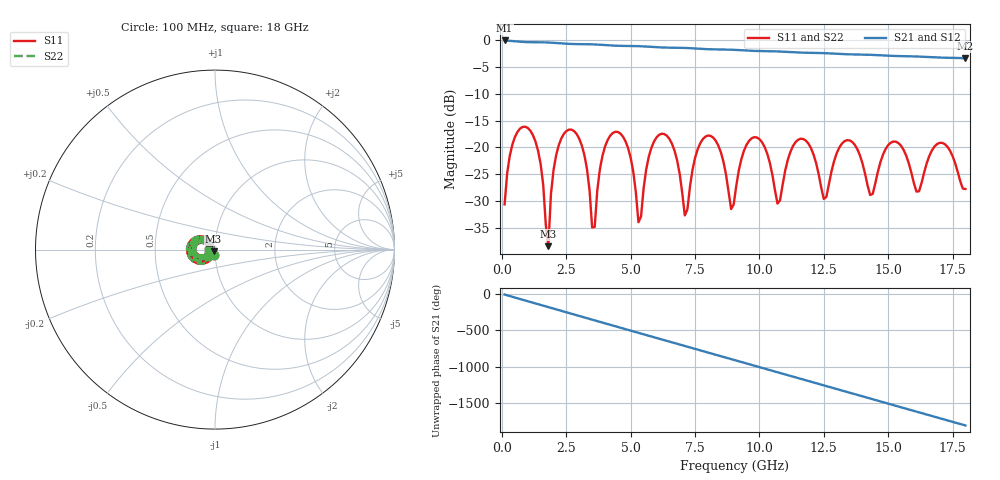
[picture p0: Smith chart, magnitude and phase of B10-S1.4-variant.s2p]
! yapnr rf coupon B: B10 S1.4 (variant, family S1.4)
! stackup JLC06161H-7628, nominal parameters; reference planes 10 mm from each end; 50 ohm (renormalized from the line's Zc)
! model: 2D quasi-static RLGC (Djordjevic-Sarkar, Huray roughness, Wheeler loss); generated by python -m yapnr.rf.coupons expected
# GHz S DB R 50
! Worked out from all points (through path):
!   180 points, 100 MHz to 18 GHz, reference 50 ohm
!   highest |S21| = -0.05 dB at 100 MHz (marker M1); lowest = -3.4 dB at 18 GHz (marker M2)
!   group delay of S21, straight-line fit = 278 ps
!   lowest |S11| = -38.4 dB at 1.8 GHz (marker M3), VSWR 1.02, Z = 49.2 - j0.857 ohm
!   |S11| at or under -10 dB: start of sweep to end of sweep
!   |S22| runs from -38.4 to -16.1 dB; largest |S21 - S12| = 0
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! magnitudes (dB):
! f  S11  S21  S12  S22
! 100 MHz  -30.6  -0.1  -0.1  -30.6
! 1 GHz  -16.4  -0.4  -0.4  -16.4
! 1.5 GHz  -23.1  -0.4  -0.4  -23.1
! 1.8 GHz  -38.4  -0.4  -0.4  -38.4
! 2.2 GHz  -19.6  -0.6  -0.6  -19.6
! 3.1 GHz  -19.6  -0.7  -0.7  -19.6
! 3.5 GHz  -34.9  -0.8  -0.8  -34.9
! 4.4 GHz  -17.1  -1.0  -1.0  -17.1
! 5.3 GHz  -34.0  -1.1  -1.1  -34.0
! 6.1 GHz  -17.7  -1.3  -1.3  -17.7
! 7.1 GHz  -32.7  -1.4  -1.4  -32.7
! 7.9 GHz  -18.0  -1.7  -1.7  -18.0
! 9.1 GHz  -27.1  -1.8  -1.8  -27.1
! 9.8 GHz  -18.1  -2.0  -2.0  -18.1
! 10.7 GHz  -30.5  -2.1  -2.1  -30.5
! 11.4 GHz  -19.0  -2.3  -2.3  -19.0
! 12.1 GHz  -21.3  -2.4  -2.4  -21.3
! 12.5 GHz  -29.6  -2.4  -2.4  -29.6
! 13.6 GHz  -19.0  -2.7  -2.7  -19.0
! 14.3 GHz  -28.9  -2.7  -2.7  -28.9
! 15.1 GHz  -19.1  -2.9  -2.9  -19.1
! 18 GHz  -27.8  -3.4  -3.4  -27.8
